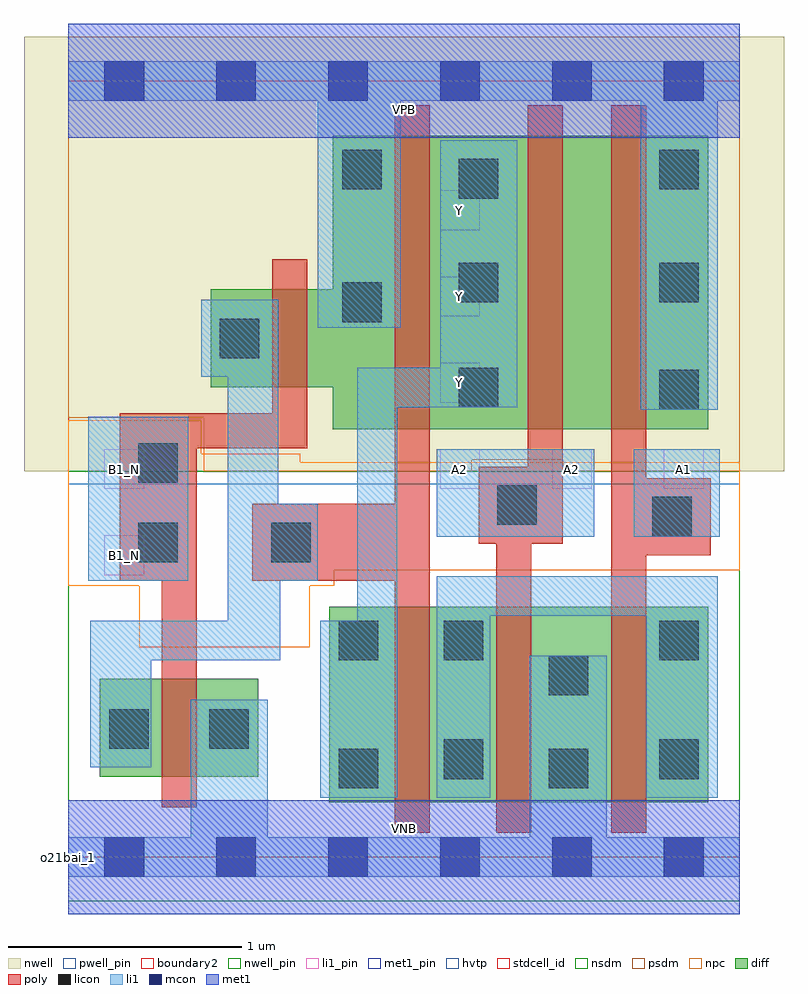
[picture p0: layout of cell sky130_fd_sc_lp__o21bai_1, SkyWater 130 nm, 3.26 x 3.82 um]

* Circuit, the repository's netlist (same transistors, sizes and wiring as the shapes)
* Copyright 2020 The SkyWater PDK Authors
*
* Licensed under the Apache License, Version 2.0 (the "License");
* you may not use this file except in compliance with the License.
* You may obtain a copy of the License at
*
*     https://www.apache.org/licenses/LICENSE-2.0
*
* Unless required by applicable law or agreed to in writing, software
* distributed under the License is distributed on an "AS IS" BASIS,
* WITHOUT WARRANTIES OR CONDITIONS OF ANY KIND, either express or implied.
* See the License for the specific language governing permissions and
* limitations under the License.
*
* SPDX-License-Identifier: Apache-2.0

.SUBCKT sky130_fd_sc_lp__o21bai_1 A1 A2 B1_N VGND VNB VPB VPWR Y
*.PININFO A1:I A2:I B1_N:I VGND:I VNB:I VPB:I VPWR:I Y:O
MMPA0 VPWR A1 sndA1 VPB sky130_fd_pr__pfet_01v8_hvt m=1 w=1.26U l=0.15U mult=1
+ sa=0.265 sb=0.265 sd=0.28 area=0.063 perim=1.14
MMPA1 sndA1 A2 Y VPB sky130_fd_pr__pfet_01v8_hvt m=1 w=1.26U l=0.15U mult=1 sa=0.265
+ sb=0.265 sd=0.28 area=0.063 perim=1.14
MMPB0 VPWR B1 Y VPB sky130_fd_pr__pfet_01v8_hvt m=1 w=1.26U l=0.15U mult=1 sa=0.265
+ sb=0.265 sd=0.28 area=0.063 perim=1.14
MMIPB1N B1 B1_N VPWR VPB sky130_fd_pr__pfet_01v8_hvt m=1 w=0.42U l=0.15U mult=1
+ sa=0.265 sb=0.265 sd=0.28 area=0.063 perim=1.14
MMNA0 pndA A1 VGND VNB sky130_fd_pr__nfet_01v8 m=1 w=0.84U l=0.15U mult=1 sa=0.265
+ sb=0.265 sd=0.28 area=0.063 perim=1.14
MMNA1 pndA A2 VGND VNB sky130_fd_pr__nfet_01v8 m=1 w=0.84U l=0.15U mult=1 sa=0.265
+ sb=0.265 sd=0.28 area=0.063 perim=1.14
MMNB0 Y B1 pndA VNB sky130_fd_pr__nfet_01v8 m=1 w=0.84U l=0.15U mult=1 sa=0.265
+ sb=0.265 sd=0.28 area=0.063 perim=1.14
MMINB1N B1 B1_N VGND VNB sky130_fd_pr__nfet_01v8 m=1 w=0.42U l=0.15U mult=1 sa=0.265
+ sb=0.265 sd=0.28 area=0.063 perim=1.14
.ENDS sky130_fd_sc_lp__o21bai_1

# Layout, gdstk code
import gdstk
lib = gdstk.Library(unit=1e-6, precision=1e-09)
def R(c, l, rs):  # rectangles x0, y0, x1, y1
    for r in rs: c.add(gdstk.rectangle(r[:2], r[2:], *l))
def A(c, l, x, y, w, h, nx, ny, dx, dy):  # array of equal rectangles
    R(c, l, [(x+i*dx, y+j*dy, x+i*dx+w, y+j*dy+h) for i in range(nx) for j in range(ny)])
def P(c, l, *ps):  # polygons
    for p in ps: c.add(gdstk.Polygon(p, *l))
nwell_pin = (64, 16)
nwell = (64, 20)
diff = (65, 20)
poly = (66, 20)
licon = (66, 44)
li1_pin = (67, 16)
li1 = (67, 20)
mcon = (67, 44)
met1_pin = (68, 16)
met1 = (68, 20)
hvtp = (78, 44)
stdcell_id = (81, 4)
nsdm = (93, 44)
psdm = (94, 20)
npc = (95, 20)
pwell_pin = (122, 16)
boundary2 = (236, 0)

sky130_fd_sc_lp__o21bai_ = lib.new_cell('sky130_fd_sc_lp__o21bai_1')
R(sky130_fd_sc_lp__o21bai_, nwell_pin, [(0,3.085,2.88,3.33)])
R(sky130_fd_sc_lp__o21bai_, nwell, [(-0.19,1.655,3.07,3.52)])
R(sky130_fd_sc_lp__o21bai_, diff, [(1.12,0.235,2.745,1.075), (0.135,0.345,0.815,0.765)])
P(sky130_fd_sc_lp__o21bai_, diff, [(2.745,3.095),(1.135,3.095),(1.135,2.435),(0.61,2.435),(0.61,2.015),(1.135,2.015),(1.135,1.835),(2.745,1.835)])
P(sky130_fd_sc_lp__o21bai_, poly, [(1.025,2.565),(0.875,2.565),(0.875,1.905),(0.22,1.905),(0.22,1.185),(0.4,1.185),(0.4,0.215),(0.55,0.215),(0.55,1.755),(1.025,1.755)],
  [(1.55,3.225),(1.4,3.225),(1.4,1.515),(0.79,1.515),(0.79,1.185),(1.4,1.185),(1.4,0.105),(1.55,0.105)],
  [(2.12,3.225),(1.97,3.225),(1.97,1.675),(1.76,1.675),(1.76,1.345),(1.835,1.345),(1.835,0.105),(1.985,0.105),(1.985,1.345),(2.12,1.345)],
  [(2.755,1.625),(2.48,1.625),(2.48,3.225),(2.33,3.225),(2.33,0.105),(2.48,0.105),(2.48,1.295),(2.755,1.295)])
R(sky130_fd_sc_lp__o21bai_, licon, [(1.16,0.295,1.33,0.465), (2.06,0.295,2.23,0.465), (1.61,0.335,1.78,0.505), (2.535,0.335,2.705,0.505), (0.175,0.465,0.345,0.635), (0.605,0.465,0.775,0.635), (2.06,0.695,2.23,0.865), (1.16,0.845,1.33,1.015), (1.61,0.845,1.78,1.015), (2.535,0.845,2.705,1.015), (0.3,1.265,0.47,1.435), (0.87,1.265,1.04,1.435), (2.505,1.375,2.675,1.545), (1.84,1.425,2.01,1.595), (0.3,1.605,0.47,1.775), (2.535,1.92,2.705,2.09), (1.675,1.93,1.845,2.1), (0.65,2.14,0.82,2.31), (1.175,2.295,1.345,2.465), (1.675,2.38,1.845,2.55), (2.535,2.38,2.705,2.55), (1.675,2.825,1.845,2.995), (1.175,2.865,1.345,3.035), (2.535,2.865,2.705,3.035)])
A(sky130_fd_sc_lp__o21bai_, li1_pin, 1.595, 1.58, 0.17, 0.17, 3, 1, 0.48, 0)
A(sky130_fd_sc_lp__o21bai_, li1_pin, 1.595, 1.95, 0.17, 0.17, 1, 3, 0, 0.37)
R(sky130_fd_sc_lp__o21bai_, li1_pin, [(0.155,1.21,0.325,1.38), (0.155,1.58,0.325,1.75)])
R(sky130_fd_sc_lp__o21bai_, li1, [(0.085,1.185,0.515,1.89), (1.58,1.375,2.255,1.75), (2.425,1.375,2.795,1.75)])
P(sky130_fd_sc_lp__o21bai_, li1, [(2.455,1.92),(2.455,3.245),(1.425,3.245),(1.425,2.27),(1.07,2.27),(1.07,3.245),(0,3.245),(0,3.415),(2.88,3.415),(2.88,3.245),(2.785,3.245),(2.785,1.92)],
  [(1.98,0.085),(1.98,0.865),(2.31,0.865),(2.31,0.085),(2.88,0.085),(2.88,-0.085),(0,-0.085),(0,0.085),(0.525,0.085),(0.525,0.675),(0.855,0.675),(0.855,0.085)],
  [(1.08,0.255),(1.08,1.015),(1.24,1.015),(1.24,2.1),(1.595,2.1),(1.595,3.075),(1.925,3.075),(1.925,1.93),(1.41,1.93),(1.41,0.255)],
  [(0.9,1.515),(1.07,1.515),(1.07,1.185),(0.91,1.185),(0.91,0.845),(0.355,0.845),(0.355,0.385),(0.095,0.385),(0.095,1.015),(0.685,1.015),(0.685,2.06),(0.57,2.06),(0.57,2.39),(0.9,2.39)],
  [(2.48,1.035),(1.81,1.035),(1.81,0.255),(1.58,0.255),(1.58,1.205),(2.785,1.205),(2.785,0.255),(2.48,0.255)])
A(sky130_fd_sc_lp__o21bai_, mcon, 0.155, -0.085, 0.17, 0.17, 6, 2, 0.48, 3.33)
R(sky130_fd_sc_lp__o21bai_, met1_pin, [(0,0,2.88,0.245), (0,3.085,2.88,3.33)])
R(sky130_fd_sc_lp__o21bai_, met1, [(0,-0.245,2.88,0.245), (0,3.085,2.88,3.575)])
R(sky130_fd_sc_lp__o21bai_, hvtp, [(0,1.6,2.88,3.33)])
R(sky130_fd_sc_lp__o21bai_, stdcell_id, [(0,0,2.88,3.33)])
R(sky130_fd_sc_lp__o21bai_, nsdm, [(0,-0.19,2.88,1.655)])
P(sky130_fd_sc_lp__o21bai_, psdm, [(2.88,3.52),(0,3.52),(0,1.885),(0.58,1.885),(0.58,1.655),(1.73,1.655),(1.73,1.705),(2.12,1.705),(2.12,1.655),(2.88,1.655)])
P(sky130_fd_sc_lp__o21bai_, npc, [(2.88,1.695),(0.995,1.695),(0.995,1.73),(0.57,1.73),(0.57,1.875),(0,1.875),(0,1.165),(0.305,1.165),(0.305,0.9),(1.035,0.9),(1.035,1.165),(1.14,1.165),(1.14,1.23),(2.88,1.23)])
R(sky130_fd_sc_lp__o21bai_, pwell_pin, [(0,0,2.88,0.245)])
R(sky130_fd_sc_lp__o21bai_, boundary2, [(0,0,2.88,3.33)])
sky130_fd_sc_lp__o21bai_.add(gdstk.Label('VNB', (1.44,0.123), layer=64, texttype=59))
sky130_fd_sc_lp__o21bai_.add(gdstk.Label('VPB', (1.44,3.208), layer=64, texttype=5))
sky130_fd_sc_lp__o21bai_.add(gdstk.Label('o21bai_1', (0,0), layer=83, texttype=44))
sky130_fd_sc_lp__o21bai_.add(gdstk.Label('VGND', (1.44,0.123), layer=68, texttype=5))
sky130_fd_sc_lp__o21bai_.add(gdstk.Label('VPWR', (1.44,3.208), layer=68, texttype=5))
sky130_fd_sc_lp__o21bai_.add(gdstk.Label('A1', (2.64,1.665), layer=67, texttype=5))
sky130_fd_sc_lp__o21bai_.add(gdstk.Label('A2', (1.68,1.665), layer=67, texttype=5))
sky130_fd_sc_lp__o21bai_.add(gdstk.Label('A2', (2.16,1.665), layer=67, texttype=5))
sky130_fd_sc_lp__o21bai_.add(gdstk.Label('Y', (1.68,2.035), layer=67, texttype=5))
sky130_fd_sc_lp__o21bai_.add(gdstk.Label('B1_N', (0.24,1.295), layer=67, texttype=5))
sky130_fd_sc_lp__o21bai_.add(gdstk.Label('B1_N', (0.24,1.665), layer=67, texttype=5))
sky130_fd_sc_lp__o21bai_.add(gdstk.Label('Y', (1.68,2.775), layer=67, texttype=5))
sky130_fd_sc_lp__o21bai_.add(gdstk.Label('Y', (1.68,2.405), layer=67, texttype=5))

lib.write_gds('sky130_fd_sc_lp__o21bai_1.gds')
